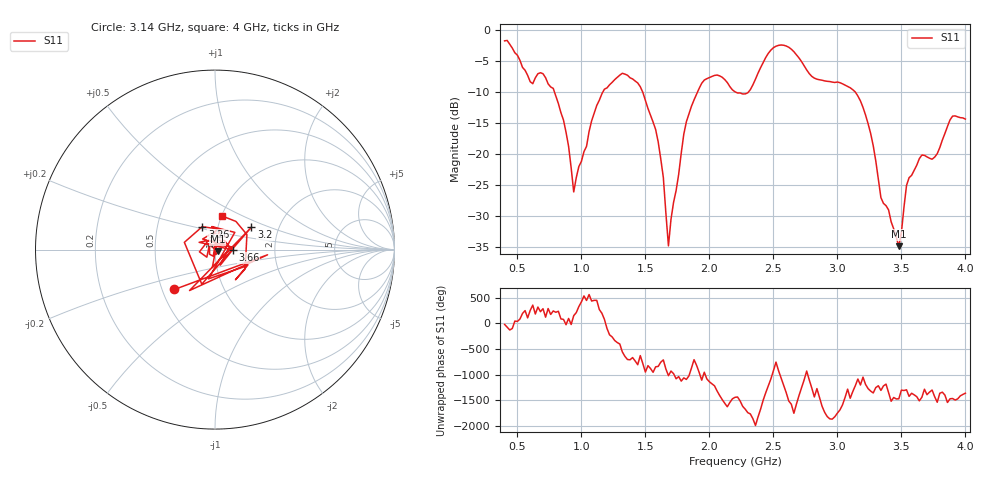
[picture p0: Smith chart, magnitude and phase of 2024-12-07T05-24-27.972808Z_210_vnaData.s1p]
!Created with skrf (http://scikit-rf.org).
# Hz S RI R 50.0
!freq ReS11 ImS11
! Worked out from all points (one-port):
!   181 points, 400 MHz to 4 GHz, reference 50 ohm
!   lowest |S11| = -34.9 dB at 3.48 GHz (marker M1), VSWR 1.04, Z = 51.6 - j0.948 ohm
!   |S11| at or under -10 dB: 790.1 MHz to 1.167 GHz (377.1 MHz wide, 38.5 % of centre); 1.479 GHz to 1.907 GHz (427.7 MHz wide, 25.3 % of centre); 3.141 GHz to end of sweep (the widest 3 of 4)
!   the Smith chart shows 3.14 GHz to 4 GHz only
!   S11 on the Smith chart (normalised r, x): 3.14 GHz: 0.58, -0.29; 3.2 GHz: 1.45, +0.38; 3.26 GHz: 0.84, +0.22; 3.66 GHz: 1.22, -0.00; 4 GHz: 1.01, +0.39
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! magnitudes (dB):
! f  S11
! 400 MHz  -1.7
! 600 MHz  -8.3
! 700 MHz  -7.0
! 860 MHz  -14.5
! 940 MHz  -26.2
! 1.12 GHz  -12.2
! 1.3 GHz  -7.2
! 1.46 GHz  -9.1
! 1.58 GHz  -16.1
! 1.64 GHz  -23.8
! 1.68 GHz  -34.9
! 1.76 GHz  -23.3
! 1.82 GHz  -14.8
! 1.94 GHz  -8.6
! 2.2 GHz  -9.9
! 2.3 GHz  -10.1
! 2.5 GHz  -2.8
! 2.66 GHz  -3.4
! 3.1 GHz  -9.3
! 3.14 GHz  -10.0
! 3.2 GHz  -12.5
! 3.26 GHz  -16.7
! 3.34 GHz  -27.1
! 3.48 GHz  -34.9
! 3.56 GHz  -23.9
! 3.66 GHz  -20.2
! 3.9 GHz  -13.9
! 4 GHz  -14.4
